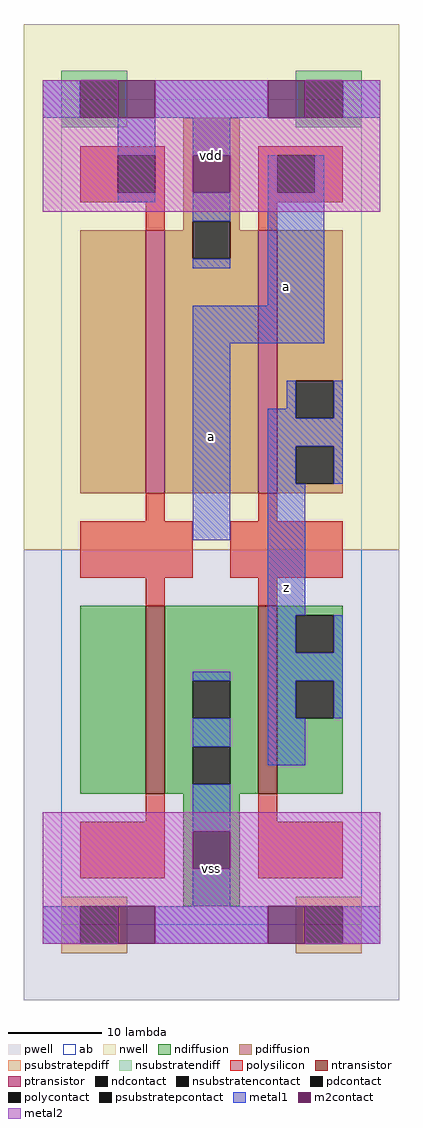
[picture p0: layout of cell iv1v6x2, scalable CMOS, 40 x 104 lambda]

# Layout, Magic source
magic
tech scmos
<< ab >>
rect 0 0 32 88
<< pwell >>
rect -4 -8 36 40
<< nwell >>
rect -4 40 36 96
<< polysilicon >>
rect 2 82 11 83
rect 2 78 6 82
rect 10 78 11 82
rect 2 77 11 78
rect 9 74 11 77
rect 21 82 30 83
rect 21 78 23 82
rect 27 78 30 82
rect 21 77 30 78
rect 21 74 23 77
rect 9 43 11 46
rect 21 43 23 46
rect 2 37 14 43
rect 18 37 30 43
rect 9 34 11 37
rect 21 34 23 37
rect 9 11 11 14
rect 2 5 11 11
rect 21 11 23 14
rect 21 5 30 11
<< ndiffusion >>
rect 2 14 9 34
rect 11 26 21 34
rect 11 22 14 26
rect 18 22 21 26
rect 11 19 21 22
rect 11 15 14 19
rect 18 15 21 19
rect 11 14 21 15
rect 23 33 30 34
rect 23 29 25 33
rect 29 29 30 33
rect 23 26 30 29
rect 23 22 25 26
rect 29 22 30 26
rect 23 14 30 22
rect 13 2 19 14
<< pdiffusion >>
rect 13 75 19 86
rect 13 74 14 75
rect 2 46 9 74
rect 11 71 14 74
rect 18 74 19 75
rect 18 71 21 74
rect 11 46 21 71
rect 23 58 30 74
rect 23 54 25 58
rect 29 54 30 58
rect 23 51 30 54
rect 23 47 25 51
rect 29 47 30 51
rect 23 46 30 47
<< metal1 >>
rect -2 86 2 90
rect 10 86 22 90
rect 30 86 34 90
rect 6 82 10 86
rect 6 77 10 78
rect 14 82 18 86
rect 14 75 18 78
rect 14 70 18 71
rect 22 78 23 82
rect 27 78 28 82
rect 22 66 28 78
rect 14 62 28 66
rect 14 41 18 62
rect 24 55 25 58
rect 22 54 25 55
rect 29 54 30 58
rect 22 51 30 54
rect 22 47 25 51
rect 29 47 30 51
rect 22 33 26 47
rect 22 29 25 33
rect 29 29 30 33
rect 14 26 18 27
rect 14 19 18 22
rect 22 26 30 29
rect 22 22 25 26
rect 29 22 30 26
rect 22 17 26 22
rect 14 10 18 15
rect 14 2 18 6
rect -2 -2 2 2
rect 10 -2 22 2
rect 30 -2 34 2
<< metal2 >>
rect -2 86 6 90
rect 10 86 22 90
rect 26 86 34 90
rect -2 82 34 86
rect -2 78 14 82
rect 18 78 34 82
rect -2 76 34 78
rect -2 10 34 12
rect -2 6 14 10
rect 18 6 34 10
rect -2 2 34 6
rect -2 -2 6 2
rect 10 -2 22 2
rect 26 -2 34 2
<< ntransistor >>
rect 9 14 11 34
rect 21 14 23 34
<< ptransistor >>
rect 9 46 11 74
rect 21 46 23 74
<< polycontact >>
rect 6 78 10 82
rect 23 78 27 82
<< ndcontact >>
rect 14 22 18 26
rect 14 15 18 19
rect 25 29 29 33
rect 25 22 29 26
<< pdcontact >>
rect 14 71 18 75
rect 25 54 29 58
rect 25 47 29 51
<< m2contact >>
rect 6 86 10 90
rect 22 86 26 90
rect 14 78 18 82
rect 14 6 18 10
rect 6 -2 10 2
rect 22 -2 26 2
<< psubstratepcontact >>
rect 2 -2 6 2
rect 26 -2 30 2
<< nsubstratencontact >>
rect 2 86 6 90
rect 26 86 30 90
<< psubstratepdiff >>
rect 0 2 7 3
rect 25 2 32 3
rect 0 -2 2 2
rect 6 -2 7 2
rect 0 -3 7 -2
rect 25 -2 26 2
rect 30 -2 32 2
rect 25 -3 32 -2
<< nsubstratendiff >>
rect 0 90 7 91
rect 0 86 2 90
rect 6 86 7 90
rect 25 90 32 91
rect 25 86 26 90
rect 30 86 32 90
rect 0 85 7 86
rect 25 85 32 86
<< labels >>
rlabel metal1 16 52 16 52 6 a
rlabel metal1 24 36 24 36 6 z
rlabel metal1 24 68 24 68 6 a
rlabel metal2 16 6 16 6 6 vss
rlabel metal2 16 6 16 6 6 vss
rlabel metal2 16 82 16 82 6 vdd
<< end >>
